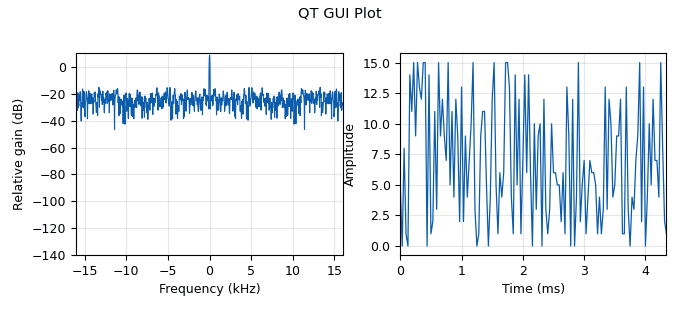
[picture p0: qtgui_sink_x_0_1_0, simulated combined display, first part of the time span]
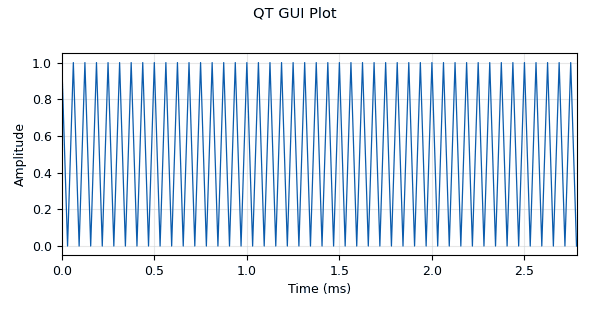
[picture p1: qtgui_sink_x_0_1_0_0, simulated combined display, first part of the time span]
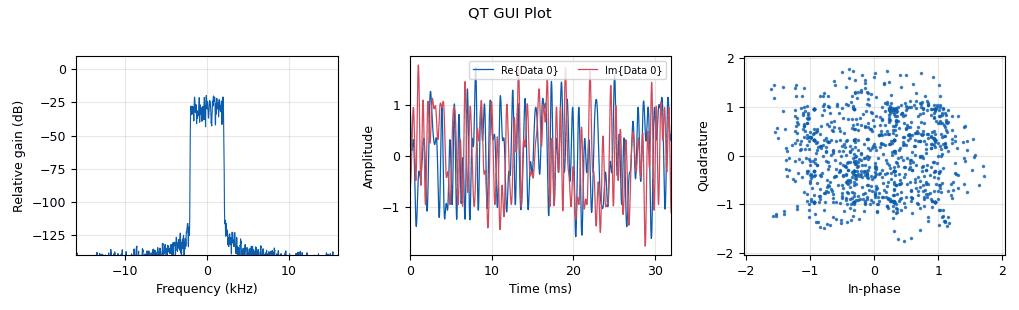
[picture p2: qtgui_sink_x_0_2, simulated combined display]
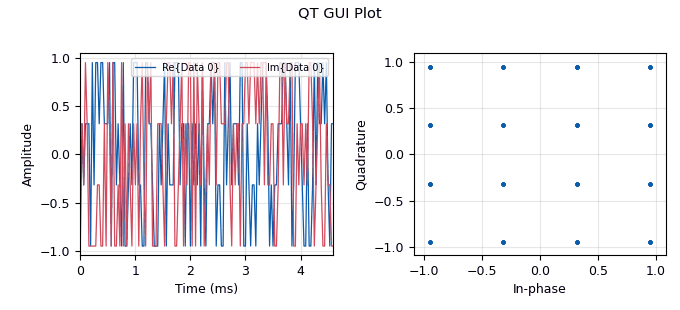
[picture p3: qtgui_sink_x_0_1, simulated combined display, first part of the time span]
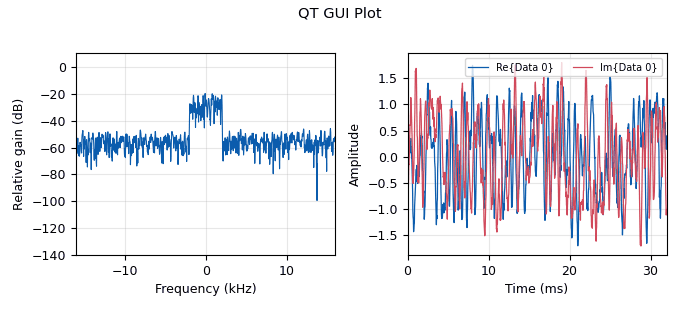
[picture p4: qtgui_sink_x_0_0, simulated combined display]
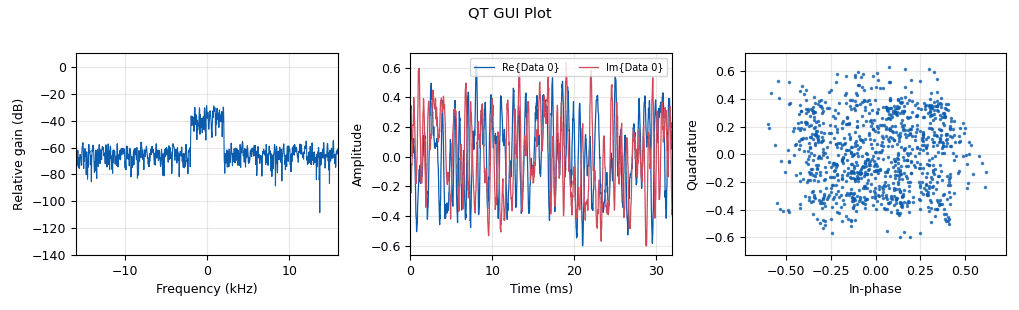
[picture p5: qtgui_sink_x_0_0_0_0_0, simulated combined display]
<?xml version='1.0' encoding='utf-8'?>
<flow_graph>
<block>
<key>options</key>
<param><key>id</key><value>simulation</value></param>
<param><key>title</key><value>Simulation</value></param>
<param><key>author</key><value>Joary Paulo</value></param>
<param><key>description</key><value>Simulation of a Transmission using GNU Radio</value></param>
<param><key>generate_options</key><value>qt_gui</value></param>
<param><key>category</key><value>Custom</value></param>
</block>
<block>
<key>digital_scrambler_bb</key>
<param><key>id</key><value>digital_scrambler_bb_0</value></param>
<param><key>mask</key><value>0xe4001</value></param>
<param><key>seed</key><value>0x7fffF</value></param>
<param><key>len</key><value>19</value></param>
</block>
<block>
<key>gr_vector_source_x</key>
<param><key>id</key><value>gr_vector_source_x_0</value></param>
<param><key>type</key><value>byte</value></param>
<param><key>vector</key><value>[1,0]</value></param>
<param><key>repeat</key><value>True</value></param>
<param><key>vlen</key><value>1</value></param>
</block>
<block>
<key>digital_constellation_receiver_cb</key>
<param><key>id</key><value>digital_constellation_receiver_cb_0</value></param>
<param><key>constellation</key><value>const_object.base()</value></param>
<param><key>loop_bw</key><value>6.28/100</value></param>
<param><key>fmin</key><value>-0.25</value></param>
<param><key>fmax</key><value>+0.25</value></param>
</block>
<block>
<key>gr_null_sink</key>
<param><key>id</key><value>gr_null_sink_0</value></param>
<param><key>type</key><value>byte</value></param>
<param><key>vlen</key><value>1</value></param>
</block>
<block>
<key>gr_char_to_float</key>
<param><key>id</key><value>gr_char_to_float_0</value></param>
<param><key>vlen</key><value>1</value></param>
<param><key>scale</key><value>1</value></param>
</block>
<block>
<key>gr_file_sink</key>
<param><key>id</key><value>gr_file_sink_0_0</value></param>
<param><key>file</key><value>rx.8b</value></param>
<param><key>type</key><value>byte</value></param>
<param><key>vlen</key><value>1</value></param>
<param><key>unbuffered</key><value>False</value></param>
</block>
<block>
<key>qtgui_tab_widget</key>
<param><key>id</key><value>tabid_1</value></param>
<param><key>num_tabs</key><value>4</value></param>
<param><key>label0</key><value>bit-based</value></param>
<param><key>label1</key><value>scrambled</value></param>
<param><key>label2</key><value>symbol-based</value></param>
<param><key>label3</key><value>signal-based</value></param>
<param><key>gui_hint</key><value>tabid_0@0:0,0,10,10</value></param>
</block>
<block>
<key>qtgui_tab_widget</key>
<param><key>id</key><value>tabid_0</value></param>
<param><key>num_tabs</key><value>3</value></param>
<param><key>label0</key><value>TX</value></param>
<param><key>label1</key><value>CHANNEL</value></param>
<param><key>label2</key><value>RX</value></param>
<param><key>gui_hint</key><value>30,0,10,100</value></param>
</block>
<block>
<key>note</key>
<param><key>id</key><value>note_0_0_0</value></param>
<param><key>note</key><value>GUI Creation</value></param>
</block>
<block>
<key>gr_pack_k_bits_bb</key>
<param><key>id</key><value>gr_pack_k_bits_bb_0</value></param>
<param><key>k</key><value>int(log2(constellation_cardinality))</value></param>
</block>
<block>
<key>gr_unpack_k_bits_bb</key>
<param><key>id</key><value>gr_unpack_k_bits_bb_0</value></param>
<param><key>k</key><value>int(log2(constellation_cardinality))</value></param>
</block>
<block>
<key>qtgui_sink_x</key>
<param><key>id</key><value>qtgui_sink_x_0_1_0</value></param>
<param><key>type</key><value>float</value></param>
<param><key>name</key><value>QT GUI Plot</value></param>
<param><key>fftsize</key><value>1024</value></param>
<param><key>wintype</key><value>firdes.WIN_BLACKMAN_hARRIS</value></param>
<param><key>fc</key><value>0</value></param>
<param><key>bw</key><value>samp_rate</value></param>
<param><key>plotwaterfall</key><value>False</value></param>
<param><key>gui_hint</key><value>tabid_1@1</value></param>
</block>
<block>
<key>qtgui_sink_x</key>
<param><key>id</key><value>qtgui_sink_x_0_1_0_0</value></param>
<param><key>type</key><value>float</value></param>
<param><key>name</key><value>QT GUI Plot</value></param>
<param><key>fftsize</key><value>1024</value></param>
<param><key>wintype</key><value>firdes.WIN_BLACKMAN_hARRIS</value></param>
<param><key>fc</key><value>0</value></param>
<param><key>bw</key><value>samp_rate</value></param>
<param><key>plotfreq</key><value>False</value></param>
<param><key>plotwaterfall</key><value>False</value></param>
<param><key>gui_hint</key><value>tabid_1@0</value></param>
</block>
<block>
<key>note</key>
<param><key>id</key><value>note_0</value></param>
<param><key>note</key><value>Parameters</value></param>
</block>
<block>
<key>note</key>
<param><key>id</key><value>note_0_1_1</value></param>
<param><key>note</key><value>General</value></param>
</block>
<block>
<key>gr_char_to_float</key>
<param><key>id</key><value>gr_char_to_float_1_0</value></param>
<param><key>vlen</key><value>1</value></param>
<param><key>scale</key><value>1</value></param>
</block>
<block>
<key>gr_descrambler_bb</key>
<param><key>id</key><value>gr_descrambler_bb_0</value></param>
<param><key>mask</key><value>0xe4001</value></param>
<param><key>seed</key><value>0x7ffff</value></param>
<param><key>len</key><value>19</value></param>
</block>
<block>
<key>variable</key>
<param><key>id</key><value>snr_db</value></param>
<param><key>_enabled</key><value>False</value></param>
<param><key>value</key><value>-10</value></param>
</block>
<block>
<key>note</key>
<param><key>id</key><value>note_0_1_0_0</value></param>
<param><key>note</key><value>Pulse Shape</value></param>
</block>
<block>
<key>note</key>
<param><key>id</key><value>note_0_1_0</value></param>
<param><key>note</key><value>Noise</value></param>
</block>
<block>
<key>variable</key>
<param><key>id</key><value>pam_constellation_object</value></param>
<param><key>value</key><value>digital.constellation_rect(pam_constellation, [], 0, len(pam_constellation), 1, 2, 0)</value></param>
</block>
<block>
<key>variable</key>
<param><key>id</key><value>constellation_cardinality</value></param>
<param><key>value</key><value>16</value></param>
</block>
<block>
<key>variable</key>
<param><key>id</key><value>pam_constellation</value></param>
<param><key>value</key><value>[complex(2*i - (constellation_cardinality)+1,0) for i in range(constellation_cardinality)]</value></param>
</block>
<block>
<key>digital_chunks_to_symbols_xx</key>
<param><key>id</key><value>digital_chunks_to_symbols_xx_0</value></param>
<param><key>in_type</key><value>byte</value></param>
<param><key>out_type</key><value>complex</value></param>
<param><key>symbol_table</key><value>const_object.points()</value></param>
<param><key>dimension</key><value>1</value></param>
</block>
<block>
<key>variable</key>
<param><key>id</key><value>noise_amp</value></param>
<param><key>value</key><value>sqrt(  (10**(-snr_db/10.))  /2. )</value></param>
</block>
<block>
<key>import</key>
<param><key>id</key><value>import_0_0</value></param>
<param><key>import</key><value>from numpy import log2, array, arange, log10</value></param>
</block>
<block>
<key>import</key>
<param><key>id</key><value>import_0</value></param>
<param><key>import</key><value>from math import sqrt, sin, pi</value></param>
</block>
<block>
<key>import</key>
<param><key>id</key><value>import_0_1</value></param>
<param><key>import</key><value>from gnuradio.digital.modulation_utils import type_1_constellations as constellations</value></param>
</block>
<block>
<key>note</key>
<param><key>id</key><value>note_0_0</value></param>
<param><key>note</key><value>Block Creation</value></param>
</block>
<block>
<key>note</key>
<param><key>id</key><value>note_0_1</value></param>
<param><key>note</key><value>Constellation</value></param>
</block>
<block>
<key>variable</key>
<param><key>id</key><value>const_object</value></param>
<param><key>value</key><value>pam_constellation_object if constellation_type == 'pam' else constellations()[constellation_type](constellation_cardinality)</value></param>
</block>
<block>
<key>variable</key>
<param><key>id</key><value>constellation_power</value></param>
<param><key>value</key><value>sqrt(sum([abs(i)**2 for i in const_object.points()])/constellation_cardinality)</value></param>
</block>
<block>
<key>gr_multiply_const_vxx</key>
<param><key>id</key><value>gr_multiply_const_vxx_0_0</value></param>
<param><key>type</key><value>complex</value></param>
<param><key>const</key><value>1./constellation_power</value></param>
<param><key>vlen</key><value>1</value></param>
</block>
<block>
<key>gr_char_to_float</key>
<param><key>id</key><value>gr_char_to_float_1</value></param>
<param><key>vlen</key><value>1</value></param>
<param><key>scale</key><value>1</value></param>
</block>
<block>
<key>gr_file_sink</key>
<param><key>id</key><value>gr_file_sink_0</value></param>
<param><key>file</key><value>tx.8b</value></param>
<param><key>type</key><value>byte</value></param>
<param><key>vlen</key><value>1</value></param>
<param><key>unbuffered</key><value>False</value></param>
</block>
<block>
<key>gr_vector_source_x</key>
<param><key>id</key><value>gr_vector_source_x_0_0</value></param>
<param><key>type</key><value>byte</value></param>
<param><key>vector</key><value>[1,0]</value></param>
<param><key>repeat</key><value>True</value></param>
<param><key>vlen</key><value>1</value></param>
</block>
<block>
<key>gr_nlog10_ff</key>
<param><key>id</key><value>gr_nlog10_ff_0</value></param>
<param><key>n</key><value>1</value></param>
<param><key>k</key><value>0</value></param>
<param><key>vlen</key><value>1</value></param>
</block>
<block>
<key>blks2_error_rate</key>
<param><key>id</key><value>blks2_error_rate_0</value></param>
<param><key>type</key><value>'BER'</value></param>
<param><key>win_size</key><value>samp_rate</value></param>
<param><key>bits_per_symbol</key><value>1</value></param>
</block>
<block>
<key>note</key>
<param><key>id</key><value>note_0_0_1</value></param>
<param><key>note</key><value>Transmitter</value></param>
</block>
<block>
<key>note</key>
<param><key>id</key><value>note_0_0_1_0</value></param>
<param><key>note</key><value>Receiver</value></param>
</block>
<block>
<key>variable</key>
<param><key>id</key><value>filt_energy</value></param>
<param><key>value</key><value>sum(abs(array(sinc_pulse))**2)</value></param>
</block>
<block>
<key>variable</key>
<param><key>id</key><value>constellation_type</value></param>
<param><key>value</key><value>'qam' # 'pam', 'qam' or 'psk'</value></param>
</block>
<block>
<key>interp_fir_filter_xxx</key>
<param><key>id</key><value>interp_fir_filter_xxx_0</value></param>
<param><key>type</key><value>ccf</value></param>
<param><key>interp</key><value>sps</value></param>
<param><key>taps</key><value>pulse</value></param>
</block>
<block>
<key>gr_add_xx</key>
<param><key>id</key><value>gr_add_xx_0</value></param>
<param><key>type</key><value>complex</value></param>
<param><key>num_inputs</key><value>2</value></param>
<param><key>vlen</key><value>1</value></param>
</block>
<block>
<key>note</key>
<param><key>id</key><value>note_0_0_1_0_0</value></param>
<param><key>note</key><value>Channel</value></param>
</block>
<block>
<key>gr_throttle</key>
<param><key>id</key><value>gr_throttle_0</value></param>
<param><key>type</key><value>complex</value></param>
<param><key>samples_per_second</key><value>samp_rate</value></param>
<param><key>vlen</key><value>1</value></param>
</block>
<block>
<key>gr_multiply_const_vxx</key>
<param><key>id</key><value>gr_multiply_const_vxx_1</value></param>
<param><key>type</key><value>complex</value></param>
<param><key>const</key><value>sqrt(sps)</value></param>
<param><key>vlen</key><value>1</value></param>
</block>
<block>
<key>gr_file_sink</key>
<param><key>id</key><value>gr_file_sink_0_1_1</value></param>
<param><key>file</key><value>tx_sig.32fc</value></param>
<param><key>type</key><value>complex</value></param>
<param><key>vlen</key><value>1</value></param>
<param><key>unbuffered</key><value>False</value></param>
</block>
<block>
<key>qtgui_sink_x</key>
<param><key>id</key><value>qtgui_sink_x_0_2</value></param>
<param><key>type</key><value>complex</value></param>
<param><key>name</key><value>QT GUI Plot</value></param>
<param><key>fftsize</key><value>1024</value></param>
<param><key>wintype</key><value>firdes.WIN_BLACKMAN_hARRIS</value></param>
<param><key>fc</key><value>0</value></param>
<param><key>bw</key><value>samp_rate</value></param>
<param><key>plotwaterfall</key><value>False</value></param>
<param><key>gui_hint</key><value>tabid_1@3</value></param>
</block>
<block>
<key>qtgui_sink_x</key>
<param><key>id</key><value>qtgui_sink_x_0_1</value></param>
<param><key>type</key><value>complex</value></param>
<param><key>name</key><value>QT GUI Plot</value></param>
<param><key>fftsize</key><value>1024</value></param>
<param><key>wintype</key><value>firdes.WIN_BLACKMAN_hARRIS</value></param>
<param><key>fc</key><value>0</value></param>
<param><key>bw</key><value>samp_rate</value></param>
<param><key>plotfreq</key><value>False</value></param>
<param><key>plotwaterfall</key><value>False</value></param>
<param><key>gui_hint</key><value>tabid_1@2</value></param>
</block>
<block>
<key>gr_file_sink</key>
<param><key>id</key><value>gr_file_sink_0_1</value></param>
<param><key>file</key><value>tx_sym.32fc</value></param>
<param><key>type</key><value>complex</value></param>
<param><key>vlen</key><value>1</value></param>
<param><key>unbuffered</key><value>False</value></param>
</block>
<block>
<key>variable</key>
<param><key>id</key><value>sps</value></param>
<param><key>value</key><value>8</value></param>
</block>
<block>
<key>gr_multiply_const_vxx</key>
<param><key>id</key><value>gr_multiply_const_vxx_0</value></param>
<param><key>type</key><value>complex</value></param>
<param><key>const</key><value>constellation_power</value></param>
<param><key>vlen</key><value>1</value></param>
</block>
<block>
<key>qtgui_sink_x</key>
<param><key>id</key><value>qtgui_sink_x_0_0</value></param>
<param><key>type</key><value>complex</value></param>
<param><key>name</key><value>QT GUI Plot</value></param>
<param><key>fftsize</key><value>1024</value></param>
<param><key>wintype</key><value>firdes.WIN_BLACKMAN_hARRIS</value></param>
<param><key>fc</key><value>0</value></param>
<param><key>bw</key><value>samp_rate</value></param>
<param><key>plotwaterfall</key><value>False</value></param>
<param><key>plotconst</key><value>False</value></param>
<param><key>gui_hint</key><value>tabid_0@1</value></param>
</block>
<block>
<key>variable_qtgui_range</key>
<param><key>id</key><value>snr_db</value></param>
<param><key>label</key><value>SNR - Sinal to Noise Ratio</value></param>
<param><key>value</key><value>15</value></param>
<param><key>start</key><value>-20</value></param>
<param><key>stop</key><value>60</value></param>
<param><key>step</key><value>.1</value></param>
<param><key>orient</key><value>Qt.Horizontal</value></param>
<param><key>gui_hint</key><value>0,0,10,100</value></param>
</block>
<block>
<key>variable</key>
<param><key>id</key><value>pulse</value></param>
<param><key>value</key><value>array(sinc_pulse)/sqrt(filt_energy)</value></param>
</block>
<block>
<key>variable</key>
<param><key>id</key><value>samp_rate</value></param>
<param><key>value</key><value>32000</value></param>
</block>
<block>
<key>gr_noise_source_x</key>
<param><key>id</key><value>gr_noise_source_x_0</value></param>
<param><key>type</key><value>complex</value></param>
<param><key>noise_type</key><value>gr.GR_GAUSSIAN</value></param>
<param><key>amp</key><value>noise_amp</value></param>
<param><key>seed</key><value>0</value></param>
</block>
<block>
<key>gr_delay</key>
<param><key>id</key><value>gr_delay_0</value></param>
<param><key>type</key><value>complex</value></param>
<param><key>delay</key><value>01</value></param>
<param><key>num_ports</key><value>1</value></param>
<param><key>vlen</key><value>1</value></param>
</block>
<block>
<key>variable</key>
<param><key>id</key><value>sinc_pulse</value></param>
<param><key>value</key><value>gr.firdes.low_pass(1, 1, 0.5/sps, 1./10000)</value></param>
</block>
<block>
<key>gr_fir_filter_xxx</key>
<param><key>id</key><value>gr_fir_filter_xxx_0</value></param>
<param><key>type</key><value>ccf</value></param>
<param><key>decim</key><value>sps</value></param>
<param><key>taps</key><value>[1.0*i for i in pulse]</value></param>
</block>
<block>
<key>gr_file_sink</key>
<param><key>id</key><value>gr_file_sink_0_1_0</value></param>
<param><key>file</key><value>rx_sym.32fc</value></param>
<param><key>type</key><value>complex</value></param>
<param><key>vlen</key><value>1</value></param>
<param><key>unbuffered</key><value>False</value></param>
</block>
<block>
<key>gr_file_sink</key>
<param><key>id</key><value>gr_file_sink_0_1_0_0</value></param>
<param><key>file</key><value>rx_sig.32fc</value></param>
<param><key>type</key><value>complex</value></param>
<param><key>vlen</key><value>1</value></param>
<param><key>unbuffered</key><value>False</value></param>
</block>
<block>
<key>gr_multiply_const_vxx</key>
<param><key>id</key><value>gr_multiply_const_vxx_1_0</value></param>
<param><key>type</key><value>complex</value></param>
<param><key>const</key><value>1./sqrt(sps)</value></param>
<param><key>vlen</key><value>1</value></param>
</block>
<block>
<key>qtgui_sink_x</key>
<param><key>id</key><value>qtgui_sink_x_0_0_0_0_0</value></param>
<param><key>type</key><value>complex</value></param>
<param><key>name</key><value>QT GUI Plot</value></param>
<param><key>fftsize</key><value>1024</value></param>
<param><key>wintype</key><value>firdes.WIN_BLACKMAN_hARRIS</value></param>
<param><key>fc</key><value>0</value></param>
<param><key>bw</key><value>samp_rate</value></param>
<param><key>plotwaterfall</key><value>False</value></param>
<param><key>gui_hint</key><value>tabid_2@0</value></param>
</block>
<block>
<key>qtgui_sink_x</key>
<param><key>id</key><value>qtgui_sink_x_0_0_0_0</value></param>
<param><key>type</key><value>complex</value></param>
<param><key>name</key><value>QT GUI Plot</value></param>
<param><key>fftsize</key><value>1024</value></param>
<param><key>wintype</key><value>firdes.WIN_BLACKMAN_hARRIS</value></param>
<param><key>fc</key><value>0</value></param>
<param><key>bw</key><value>samp_rate</value></param>
<param><key>plotwaterfall</key><value>False</value></param>
<param><key>gui_hint</key><value>tabid_2@1</value></param>
</block>
<block>
<key>qtgui_sink_x</key>
<param><key>id</key><value>qtgui_sink_x_0_0_0</value></param>
<param><key>type</key><value>float</value></param>
<param><key>name</key><value>QT GUI Plot</value></param>
<param><key>fftsize</key><value>1024</value></param>
<param><key>wintype</key><value>firdes.WIN_BLACKMAN_hARRIS</value></param>
<param><key>fc</key><value>0</value></param>
<param><key>bw</key><value>samp_rate</value></param>
<param><key>plotfreq</key><value>False</value></param>
<param><key>plotwaterfall</key><value>False</value></param>
<param><key>gui_hint</key><value>tabid_2@2</value></param>
</block>
<block>
<key>qtgui_time_sink_x</key>
<param><key>id</key><value>qtgui_time_sink_x_0</value></param>
<param><key>type</key><value>float</value></param>
<param><key>name</key><value>QT GUI Plot</value></param>
<param><key>size</key><value>1024</value></param>
<param><key>bw</key><value>samp_rate</value></param>
<param><key>gui_hint</key><value>tabid_2@3</value></param>
</block>
<block>
<key>qtgui_tab_widget</key>
<param><key>id</key><value>tabid_2</value></param>
<param><key>num_tabs</key><value>4</value></param>
<param><key>label0</key><value>signal-based</value></param>
<param><key>label1</key><value>symbol-based</value></param>
<param><key>label2</key><value>bit-based</value></param>
<param><key>label3</key><value>BER</value></param>
<param><key>gui_hint</key><value>tabid_0@2</value></param>
</block>
<connection><source_block_id>gr_vector_source_x_0</source_block_id><sink_block_id>digital_scrambler_bb_0</sink_block_id><source_key>0</source_key><sink_key>0</sink_key></connection>
<connection><source_block_id>digital_scrambler_bb_0</source_block_id><sink_block_id>gr_pack_k_bits_bb_0</sink_block_id><source_key>0</source_key><sink_key>0</sink_key></connection>
<connection><source_block_id>gr_pack_k_bits_bb_0</source_block_id><sink_block_id>digital_chunks_to_symbols_xx_0</sink_block_id><source_key>0</source_key><sink_key>0</sink_key></connection>
<connection><source_block_id>digital_constellation_receiver_cb_0</source_block_id><sink_block_id>gr_file_sink_0_0</sink_block_id><source_key>0</source_key><sink_key>0</sink_key></connection>
<connection><source_block_id>digital_constellation_receiver_cb_0</source_block_id><sink_block_id>gr_unpack_k_bits_bb_0</sink_block_id><source_key>0</source_key><sink_key>0</sink_key></connection>
<connection><source_block_id>gr_unpack_k_bits_bb_0</source_block_id><sink_block_id>gr_descrambler_bb_0</sink_block_id><source_key>0</source_key><sink_key>0</sink_key></connection>
<connection><source_block_id>gr_descrambler_bb_0</source_block_id><sink_block_id>gr_null_sink_0</sink_block_id><source_key>0</source_key><sink_key>0</sink_key></connection>
<connection><source_block_id>gr_fir_filter_xxx_0</source_block_id><sink_block_id>gr_multiply_const_vxx_0</sink_block_id><source_key>0</source_key><sink_key>0</sink_key></connection>
<connection><source_block_id>gr_fir_filter_xxx_0</source_block_id><sink_block_id>qtgui_sink_x_0_0_0_0</sink_block_id><source_key>0</source_key><sink_key>0</sink_key></connection>
<connection><source_block_id>gr_descrambler_bb_0</source_block_id><sink_block_id>gr_char_to_float_0</sink_block_id><source_key>0</source_key><sink_key>0</sink_key></connection>
<connection><source_block_id>gr_char_to_float_0</source_block_id><sink_block_id>qtgui_sink_x_0_0_0</sink_block_id><source_key>0</source_key><sink_key>0</sink_key></connection>
<connection><source_block_id>digital_chunks_to_symbols_xx_0</source_block_id><sink_block_id>gr_multiply_const_vxx_0_0</sink_block_id><source_key>0</source_key><sink_key>0</sink_key></connection>
<connection><source_block_id>gr_multiply_const_vxx_0_0</source_block_id><sink_block_id>interp_fir_filter_xxx_0</sink_block_id><source_key>0</source_key><sink_key>0</sink_key></connection>
<connection><source_block_id>gr_multiply_const_vxx_0_0</source_block_id><sink_block_id>gr_file_sink_0_1</sink_block_id><source_key>0</source_key><sink_key>0</sink_key></connection>
<connection><source_block_id>gr_multiply_const_vxx_0_0</source_block_id><sink_block_id>qtgui_sink_x_0_1</sink_block_id><source_key>0</source_key><sink_key>0</sink_key></connection>
<connection><source_block_id>gr_char_to_float_1</source_block_id><sink_block_id>qtgui_sink_x_0_1_0</sink_block_id><source_key>0</source_key><sink_key>0</sink_key></connection>
<connection><source_block_id>gr_pack_k_bits_bb_0</source_block_id><sink_block_id>gr_char_to_float_1</sink_block_id><source_key>0</source_key><sink_key>0</sink_key></connection>
<connection><source_block_id>gr_pack_k_bits_bb_0</source_block_id><sink_block_id>gr_file_sink_0</sink_block_id><source_key>0</source_key><sink_key>0</sink_key></connection>
<connection><source_block_id>gr_char_to_float_1_0</source_block_id><sink_block_id>qtgui_sink_x_0_1_0_0</sink_block_id><source_key>0</source_key><sink_key>0</sink_key></connection>
<connection><source_block_id>gr_vector_source_x_0</source_block_id><sink_block_id>gr_char_to_float_1_0</sink_block_id><source_key>0</source_key><sink_key>0</sink_key></connection>
<connection><source_block_id>gr_nlog10_ff_0</source_block_id><sink_block_id>qtgui_time_sink_x_0</sink_block_id><source_key>0</source_key><sink_key>0</sink_key></connection>
<connection><source_block_id>blks2_error_rate_0</source_block_id><sink_block_id>gr_nlog10_ff_0</sink_block_id><source_key>0</source_key><sink_key>0</sink_key></connection>
<connection><source_block_id>gr_vector_source_x_0_0</source_block_id><sink_block_id>blks2_error_rate_0</sink_block_id><source_key>0</source_key><sink_key>0</sink_key></connection>
<connection><source_block_id>gr_descrambler_bb_0</source_block_id><sink_block_id>blks2_error_rate_0</sink_block_id><source_key>0</source_key><sink_key>1</sink_key></connection>
<connection><source_block_id>interp_fir_filter_xxx_0</source_block_id><sink_block_id>gr_multiply_const_vxx_1</sink_block_id><source_key>0</source_key><sink_key>0</sink_key></connection>
<connection><source_block_id>gr_multiply_const_vxx_1</source_block_id><sink_block_id>gr_add_xx_0</sink_block_id><source_key>0</source_key><sink_key>0</sink_key></connection>
<connection><source_block_id>gr_noise_source_x_0</source_block_id><sink_block_id>gr_add_xx_0</sink_block_id><source_key>0</source_key><sink_key>1</sink_key></connection>
<connection><source_block_id>gr_add_xx_0</source_block_id><sink_block_id>gr_throttle_0</sink_block_id><source_key>0</source_key><sink_key>0</sink_key></connection>
<connection><source_block_id>gr_throttle_0</source_block_id><sink_block_id>qtgui_sink_x_0_0</sink_block_id><source_key>0</source_key><sink_key>0</sink_key></connection>
<connection><source_block_id>gr_throttle_0</source_block_id><sink_block_id>gr_multiply_const_vxx_1_0</sink_block_id><source_key>0</source_key><sink_key>0</sink_key></connection>
<connection><source_block_id>gr_multiply_const_vxx_1</source_block_id><sink_block_id>gr_file_sink_0_1_1</sink_block_id><source_key>0</source_key><sink_key>0</sink_key></connection>
<connection><source_block_id>gr_multiply_const_vxx_1</source_block_id><sink_block_id>qtgui_sink_x_0_2</sink_block_id><source_key>0</source_key><sink_key>0</sink_key></connection>
<connection><source_block_id>gr_multiply_const_vxx_1_0</source_block_id><sink_block_id>gr_file_sink_0_1_0_0</sink_block_id><source_key>0</source_key><sink_key>0</sink_key></connection>
<connection><source_block_id>gr_multiply_const_vxx_0</source_block_id><sink_block_id>digital_constellation_receiver_cb_0</sink_block_id><source_key>0</source_key><sink_key>0</sink_key></connection>
<connection><source_block_id>gr_delay_0</source_block_id><sink_block_id>gr_fir_filter_xxx_0</sink_block_id><source_key>0</source_key><sink_key>0</sink_key></connection>
<connection><source_block_id>gr_multiply_const_vxx_1_0</source_block_id><sink_block_id>gr_delay_0</sink_block_id><source_key>0</source_key><sink_key>0</sink_key></connection>
<connection><source_block_id>gr_fir_filter_xxx_0</source_block_id><sink_block_id>gr_file_sink_0_1_0</sink_block_id><source_key>0</source_key><sink_key>0</sink_key></connection>
<connection><source_block_id>gr_multiply_const_vxx_1_0</source_block_id><sink_block_id>qtgui_sink_x_0_0_0_0_0</sink_block_id><source_key>0</source_key><sink_key>0</sink_key></connection>
</flow_graph>
